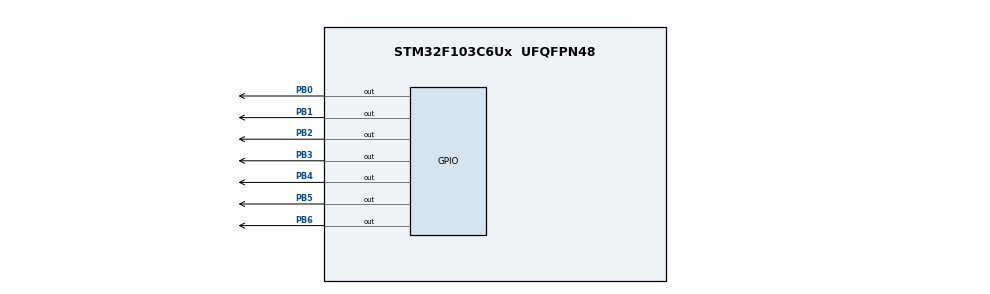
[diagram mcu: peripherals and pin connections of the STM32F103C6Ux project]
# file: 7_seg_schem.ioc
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Mcu.Family=STM32F1
Mcu.Name=STM32F103C6Ux
Mcu.Package=UFQFPN48
NVIC.PriorityGroup=NVIC_PRIORITYGROUP_4
PA13.Mode=Serial_Wire
PA13.Signal=SYS_JTMS-SWDIO
PA14.Mode=Serial_Wire
PA14.Signal=SYS_JTCK-SWCLK
PB0.Signal=GPIO_Output
PB1.Signal=GPIO_Output
PB2.Signal=GPIO_Output
PB3.Signal=GPIO_Output
PB4.Signal=GPIO_Output
PB5.Signal=GPIO_Output
PB6.Signal=GPIO_Output
ProjectManager.HeapSize=0x200
ProjectManager.StackSize=0x400
ProjectManager.TargetToolchain=STM32CubeIDE
RCC.APB1Freq_Value=8000000
RCC.APB2Freq_Value=8000000
board=custom

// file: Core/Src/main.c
/* USER CODE BEGIN Header */
/**
  ******************************************************************************
  * @file           : main.c
  * @brief          : Main program body
  ******************************************************************************
  * @attention
  *
  * <h2><center>&copy; Copyright (c) 2026 STMicroelectronics.
  * All rights reserved.</center></h2>
  *
  * This software component is licensed by ST under BSD 3-Clause license,
  * the "License"; You may not use this file except in compliance with the
  * License. You may obtain a copy of the License at:
  *                        opensource.org/licenses/BSD-3-Clause
  *
  ******************************************************************************
  */
/* USER CODE END Header */
#include "main.h"

void SystemClock_Config(void);
static void MX_GPIO_Init(void);

/* USER CODE BEGIN 0 */
void display7Seg(int num) {
	static const uint8_t seg_code[10] = {
		0b1000000, //0: a,b,c,d,e,f
		0b1111001, //1: b,c
		0b0100100, //2: a,b,d,e,g
		0b0110000, //3: a,b,c,d,g
		0b0011001, //4: b,c,f,g
		0b0010010, //5: a,c,d,f,g
		0b0000010, //6: a,c,d,e,f,g
		0b1111000, //7: a,b,c
		0b0000000, //8: a,b,c,d,e,f,g
		0b0010000, //9: a,b,c,d,f,g
	};
	if (num < 0 || num > 9) return;

	    uint8_t code = seg_code[num];

	    HAL_GPIO_WritePin(GPIOB, GPIO_PIN_0, (code & 0x01) ? GPIO_PIN_SET : GPIO_PIN_RESET); // a
	    HAL_GPIO_WritePin(GPIOB, GPIO_PIN_1, (code & 0x02) ? GPIO_PIN_SET : GPIO_PIN_RESET); // b
	    HAL_GPIO_WritePin(GPIOB, GPIO_PIN_2, (code & 0x04) ? GPIO_PIN_SET : GPIO_PIN_RESET); // c
	    HAL_GPIO_WritePin(GPIOB, GPIO_PIN_3, (code & 0x08) ? GPIO_PIN_SET : GPIO_PIN_RESET); // d
	    HAL_GPIO_WritePin(GPIOB, GPIO_PIN_4, (code & 0x10) ? GPIO_PIN_SET : GPIO_PIN_RESET); // e
	    HAL_GPIO_WritePin(GPIOB, GPIO_PIN_5, (code & 0x20) ? GPIO_PIN_SET : GPIO_PIN_RESET); // f
	    HAL_GPIO_WritePin(GPIOB, GPIO_PIN_6, (code & 0x40) ? GPIO_PIN_SET : GPIO_PIN_RESET); // g
}
/* USER CODE END 0 */

int main(void)
{

  /* MCU Configuration--------------------------------------------------------*/

  /* Reset of all peripherals, Initializes the Flash interface and the Systick. */
  HAL_Init();

  /* Configure the system clock */
  SystemClock_Config();

  /* Initialize all configured peripherals */
  MX_GPIO_Init();

  /* Infinite loop */
  /* USER CODE BEGIN WHILE */
  int count = 0;
  while (1)
  {
	  display7Seg(count);
	  count++;
	  if (count >= 10) count = 0;
	  HAL_Delay(1000);
    /* USER CODE BEGIN 3 */
  }
    /* USER CODE END WHILE */
  /* USER CODE END 3 */
}

void SystemClock_Config(void)
{
  RCC_OscInitTypeDef RCC_OscInitStruct = {0};
  RCC_ClkInitTypeDef RCC_ClkInitStruct = {0};

  /** Initializes the RCC Oscillators according to the specified parameters
  * in the RCC_OscInitTypeDef structure.
  */
  RCC_OscInitStruct.OscillatorType = RCC_OSCILLATORTYPE_HSI;
  RCC_OscInitStruct.HSIState = RCC_HSI_ON;
  RCC_OscInitStruct.HSICalibrationValue = RCC_HSICALIBRATION_DEFAULT;
  RCC_OscInitStruct.PLL.PLLState = RCC_PLL_NONE;
  if (HAL_RCC_OscConfig(&RCC_OscInitStruct) != HAL_OK)
  {
    Error_Handler();
  }
  /** Initializes the CPU, AHB and APB buses clocks
  */
  RCC_ClkInitStruct.ClockType = RCC_CLOCKTYPE_HCLK|RCC_CLOCKTYPE_SYSCLK
                              |RCC_CLOCKTYPE_PCLK1|RCC_CLOCKTYPE_PCLK2;
  RCC_ClkInitStruct.SYSCLKSource = RCC_SYSCLKSOURCE_HSI;
  RCC_ClkInitStruct.AHBCLKDivider = RCC_SYSCLK_DIV1;
  RCC_ClkInitStruct.APB1CLKDivider = RCC_HCLK_DIV1;
  RCC_ClkInitStruct.APB2CLKDivider = RCC_HCLK_DIV1;

  if (HAL_RCC_ClockConfig(&RCC_ClkInitStruct, FLASH_LATENCY_0) != HAL_OK)
  {
    Error_Handler();
  }
}

static void MX_GPIO_Init(void)
{
  GPIO_InitTypeDef GPIO_InitStruct = {0};

  /* GPIO Ports Clock Enable */
  __HAL_RCC_GPIOB_CLK_ENABLE();

  /*Configure GPIO pin Output Level */
  HAL_GPIO_WritePin(GPIOB, GPIO_PIN_0|GPIO_PIN_1|GPIO_PIN_2|GPIO_PIN_3
                          |GPIO_PIN_4|GPIO_PIN_5|GPIO_PIN_6, GPIO_PIN_RESET);

  /*Configure GPIO pins : PB0 PB1 PB2 PB3
                           PB4 PB5 PB6 */
  GPIO_InitStruct.Pin = GPIO_PIN_0|GPIO_PIN_1|GPIO_PIN_2|GPIO_PIN_3
                          |GPIO_PIN_4|GPIO_PIN_5|GPIO_PIN_6;
  GPIO_InitStruct.Mode = GPIO_MODE_OUTPUT_PP;
  GPIO_InitStruct.Pull = GPIO_NOPULL;
  GPIO_InitStruct.Speed = GPIO_SPEED_FREQ_LOW;
  HAL_GPIO_Init(GPIOB, &GPIO_InitStruct);

}

void Error_Handler(void)
{
  __disable_irq();
  while (1)
  {
  }
}

/************************ (C) COPYRIGHT STMicroelectronics *****END OF FILE****/
